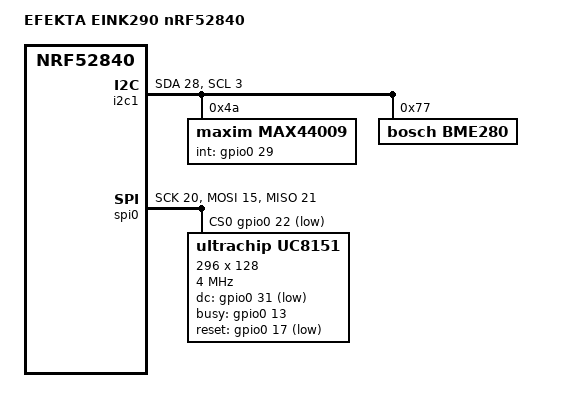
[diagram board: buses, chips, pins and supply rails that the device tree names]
// Copyright (c) 2021 Nordic Semiconductor ASA
// SPDX-License-Identifier: Apache-2.0

/dts-v1/;
#include <nordic/nrf52840_qiaa.dtsi>

/ {
	model = "EFEKTA EINK290 nRF52840";
	compatible = "efekta,efekta-eink290-nrf52840";
	
	chosen {
		zephyr,sram = &sram0;
		zephyr,flash = &flash0;
		zephyr,code-partition = &slot0_partition;
	};
};

&gpio0 {
	status = "okay";
};

&gpio1 {
	status = "disabled";
};

&i2c1 {

	compatible = "nordic,nrf-twi";
		status = "okay";
		sda-pin = <28>;
		scl-pin = <3>;
	
		max44009@4a {
			compatible = "maxim,max44009";
			reg = <0x4a>;
			int-gpios = <&gpio0 29 0>;
			label = "MAX44009";
		};

		bme280@77 {
			compatible = "bosch,bme280";
			reg = <0x77>;
			label = "BME280";
		};
};

&spi0 {
	compatible = "nordic,nrf-spi";
	/* Cannot be used together with i2c0. */
	status = "okay"; 
	sck-pin = <20>;
	mosi-pin = <15>;
	miso-pin = <21>;
	cs-gpios = <&gpio0 22 GPIO_ACTIVE_LOW>;

	uc8151@0{
		compatible = "ultrachip,uc8151", "gooddisplay,gdem029t94";
		label = "UC8151";
		spi-max-frequency = <4000000>;
		reg = < 0x0 >;
		pwr = [03 00 2b 2b 03];
		width = <296>;
		height = <128>;
		dc-gpios = <&gpio0 31 GPIO_ACTIVE_LOW>;
		busy-gpios = <&gpio0 13 GPIO_ACTIVE_HIGH>;	
		reset-gpios = <&gpio0 17 GPIO_ACTIVE_LOW>;
		cdi = <0xd7>;
		tcon = <0x22>;
		otp = <0xbf>;
		softstart = [17 17 17];
		lut-initial = [
			
		];
		lut-default = [
			
		];
	};
};

&flash0 {
	partitions {
		compatible = "fixed-partitions";
		#address-cells = <1>;
		#size-cells = <1>;

		boot_partition: partition@0 {
			label = "mcuboot";
			reg = <0x0 0xc000>;
		};
		slot0_partition: partition@c000 {
			label = "image-0";
			reg = <0xc000 0x72000>;
		};
		slot1_partition: partition@7e000 {
			label = "image-1";
			reg = <0x7e000 0x72000>;
		};
		scratch_partition: partition@f0000 {
			label = "image-scratch";
			reg = <0xf0000 0xa000>;
		};
		storage_partition: partition@fa000 {
			label = "storage";
			reg = <0xfa000 0x6000>;
		};
	};
};

